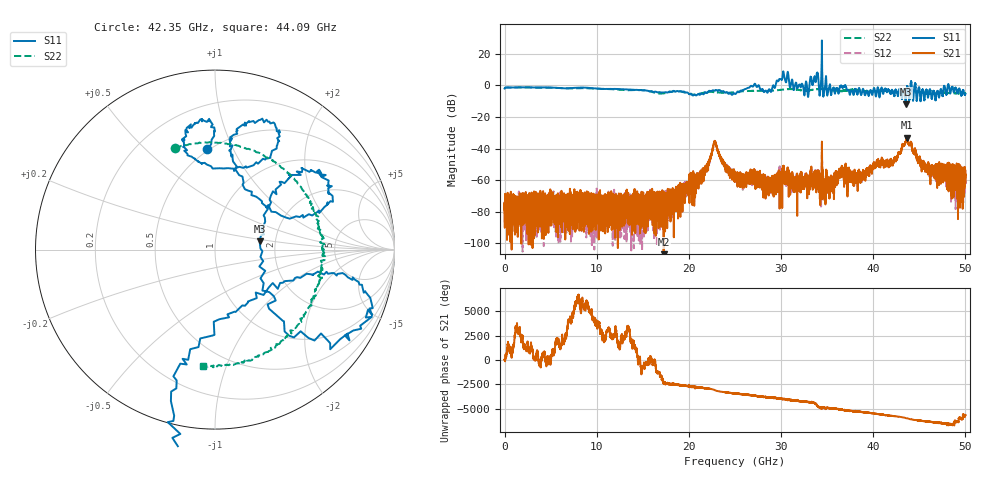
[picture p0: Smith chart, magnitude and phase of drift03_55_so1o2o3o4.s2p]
!Created with skrf (http://scikit-rf.org).
# Hz S RI R 50.0
!freq ReS11 ImS11 ReS21 ImS21 ReS12 ImS12 ReS22 ImS22
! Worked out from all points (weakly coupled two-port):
!   10000 points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, 5.3 MHz to 50 GHz, reference 50 ohm
!   highest |S21| = -33.09 dB at 43.64 GHz (marker M1); lowest = -115.9 dB at 17.27 GHz (marker M2)
!   lowest |S11| = -11.9 dB at 43.52 GHz (marker M3), VSWR 1.68, Z = 82.6 + j8.01 ohm
!   |S11| at or under -10 dB: 43.48591 GHz to 43.5529 GHz (66.99 MHz wide, 0.154 % of centre); 45.13819 GHz to 45.14092 GHz (2.729 MHz wide, 0.00605 % of centre)
!   |S22| runs from -5.9 to -1.3 dB; largest |S21 - S12| = 0.015
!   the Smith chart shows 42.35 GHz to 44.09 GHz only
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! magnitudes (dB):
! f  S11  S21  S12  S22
! 5.3 MHz  -2.1  -78.7  -73.6  -2.1
! 8.34 GHz  -1.5  -78.5  -76.0  -1.9
! 16.67 GHz  -4.4  -73.6  -76.7  -5.2
! 17.27 GHz  -4.6  -115.9  -73.7  -5.1
! 20.83 GHz  -6.4  -59.6  -62.5  -5.7
! 21.98 GHz  -4.9  -52.8  -51.9  -4.3
! 22.8 GHz  -3.5  -35.1  -35.6  -4.5
! 25.01 GHz  -5.5  -55.7  -58.2  -4.3
! 27.02 GHz  -0.3  -54.5  -56.5  -3.5
! 28.72 GHz  -2.5  -60.9  -61.3  -3.6
! 30.14 GHz  4.5  -53.9  -55.3  -2.8
! 32.74 GHz  2.0  -60.1  -62.4  -3.4
! 33.34 GHz  2.6  -57.8  -59.9  -2.9
! 33.82 GHz  4.0  -58.0  -58.5  -2.5
! 34.89 GHz  5.2  -55.3  -59.2  -2.4
! 36.45 GHz  -0.5  -58.5  -54.7  -3.7
! 38.07 GHz  -2.3  -57.5  -56.5  -2.9
! 41.67 GHz  -3.0  -50.7  -50.1  -3.7
! 43.52 GHz  -11.9  -35.5  -35.7  -4.2
! 43.64 GHz  -1.9  -33.1  -33.6  -4.0
! 46 GHz  -6.0  -49.6  -51.7  -5.5
! 50 GHz  -5.3  -56.8  -62.8  -4.9
